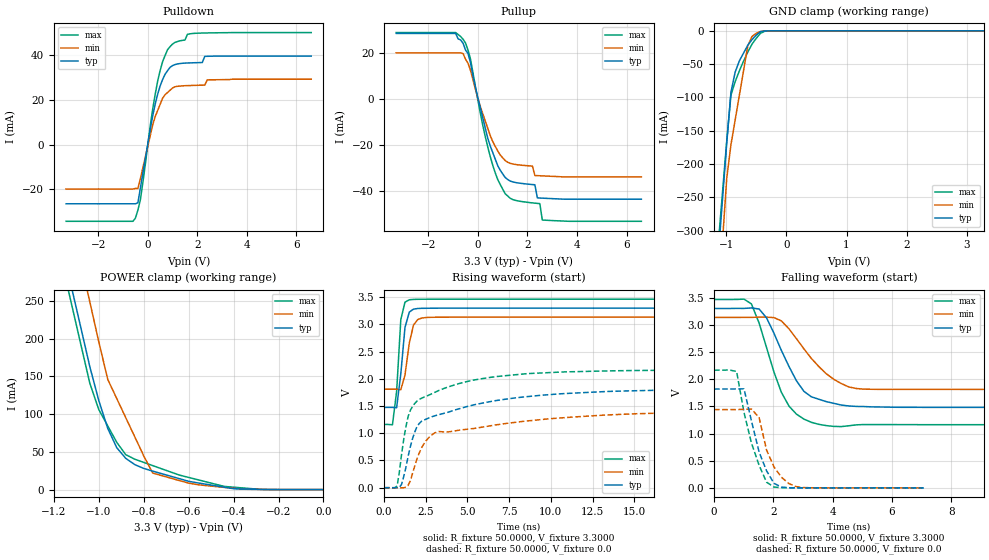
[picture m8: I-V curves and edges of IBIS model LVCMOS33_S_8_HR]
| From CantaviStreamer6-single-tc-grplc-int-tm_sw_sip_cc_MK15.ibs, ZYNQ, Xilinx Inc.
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[Model]  LVCMOS33_S_8_HR
Model_type I/O
Polarity   Non-Inverting
Enable   Active-Low
Vinl =   0.8000V
Vinh =   2.0000V
Vmeas =  1.6500V
Cref =   0.0F
Rref =   1.0000M
Vref =   0.0V
C_comp   5.23pF   5.19pF   5.36pF
[Temperature Range]   25.0000   85.0000   0.0
[Voltage Range]   3.3000V   3.1350V   3.4650V
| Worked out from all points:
|   slope of the pulldown table from 0 to 0.495 V, typ, clamps not added: 19.2 ohm
|   slope of the pullup table from 0 to 0.495 V, typ, clamps not added: 23.7 ohm
|   GND clamp passes 1 mA (typ) near -0.41 V on its own axis
|   POWER clamp passes 1 mA (typ) near -0.38 V on its own axis
|   rising waveform, R_fixture 50.0000, V_fixture 3.3000: 20-80 % time 348ps typ, 418ps min, 295ps max; typ from 1.48 V to 3.3 V
|   rising waveform, R_fixture 50.0000, V_fixture 0.0: 20-80 % time 3.19ns typ, 4.92ns min, 1.92ns max; typ from 0 V to 1.81 V
|   falling waveform, R_fixture 50.0000, V_fixture 3.3000: 20-80 % time 1ns typ, 1.24ns min, 873ps max; typ from 3.3 V to 1.48 V
|   falling waveform, R_fixture 50.0000, V_fixture 0.0: 20-80 % time 568ps typ, 572ps min, 613ps max; typ from 1.82 V to 0 V
[Pulldown]
|Voltage   I(typ)   I(min)   I(max)
-3.3V     -26.44mA   -19.83mA   -34.28mA
-500mV    -26.44mA   -19.6mA    -32.84mA
-400mV    -25.99mA   -19.6mA    -29.3mA
-300mV    -19.42mA   -15.27mA   -24.66mA
100mV     6.921mA    4.13mA     8.579mA
400mV     22.66mA    15.34mA    28.51mA
600mV     29.19mA    20.84mA    37.22mA
1V        35.37mA    25.37mA    45.01mA
1.8V      36.62mA    26.49mA    49.72mA
2.3V      39.5mA     26.64mA    49.96mA
2.4V      39.53mA    29mA       49.98mA
6.6V      39.61mA    29.29mA    50.15mA
[Pullup]
|Voltage   I(typ)   I(min)   I(max)
-3.3V     28.67mA    20.19mA    29.04mA
-900mV    28.67mA    20.19mA    29.04mA
-600mV    24.41mA    19.83mA    26.12mA
-300mV    15.86mA    12.55mA    17.47mA
200mV     -8.375mA   -6.515mA   -11.65mA
600mV     -23.39mA   -18.62mA   -28.95mA
1.3V      -35.78mA   -28.05mA   -43.28mA
2.2V      -37.33mA   -29.27mA   -45.33mA
2.3V      -37.42mA   -33.37mA   -45.44mA
2.5V      -43.2mA    -33.48mA   -45.65mA
2.6V      -43.26mA   -33.54mA   -52.82mA
6.6V      -43.72mA   -33.96mA   -53.37mA
[GND_clamp]
|Voltage   I(typ)   I(min)   I(max)
-3.3V     -3.592A    -3.646A    -3.573A
-1.13V    -336.9mA   -409.8mA   -319.4mA
-1.06V    -252.8mA   -315.8mA   -242.5mA
-990mV    -168.8mA   -221.9mA   -165.6mA
-920mV    -92.3mA    -171.1mA   -96.7mA
-850mV    -62.05mA   -133.9mA   -76.37mA
-640mV    -21.63mA   -22.47mA   -31.95mA
-570mV    -13.24mA   -8.578mA   -19.99mA
-500mV    -6.516mA   -3.819mA   -11.33mA
-430mV    -1.313mA   -1.026mA   -3.74mA
-290mV    -32.42uA   -84.03uA   -109.5uA
3.28V     19.51nA    2.407uA    13.97nA
[POWER_clamp]
|Voltage   I(typ)   I(min)   I(max)
-3.28V    3.564A     3.617A     3.545A
-1.16V    321.1mA    407.8mA    295.6mA
-1.12V    266.3mA    354.8mA    244.1mA
-1.08V    214.7mA    301.8mA    192.5mA
-1.04V    163mA      248.8mA    141mA
-1V       118mA      195.8mA    106mA
-960mV    81.03mA    145.9mA    84.32mA
-920mV    55.53mA    120.6mA    62.62mA
-880mV    41.38mA    95.3mA     46.31mA
-760mV    24.5mA     21.89mA    31.8mA
-440mV    3.117mA    2.892mA    4.182mA
0V        19.6nA     164.8nA    26.23nA
[Ramp]
| variable   typ   min   max
dV/dt_r  1.0878/3.1532n   0.8502/4.5119n   1.2972/1.9063n
dV/dt_f  1.0920/1.0938n   0.795/1.4352n   1.3818/0.8604n
R_load = 50.0000
[Rising Waveform]
R_fixture= 50.0000
V_fixture= 3.3000
V_fixture_min= 3.1350
V_fixture_max= 3.46500
|time   V(typ)   V(min)   V(max)
0s        1.476V     1.81V      1.162V
510ps     1.476V     1.81V      1.156V
760ps     1.47V      1.809V     1.772V
1.01ns    2.091V     1.8V       3.088V
1.26ns    2.944V     2.07V      3.409V
1.52ns    3.228V     2.658V     3.453V
1.77ns    3.281V     2.988V     3.46V
2.02ns    3.293V     3.089V     3.462V
2.53ns    3.297V     3.127V     3.463V
19.95ns   3.3V       3.134V     3.465V
[Rising Waveform]
R_fixture= 50.0000
V_fixture= 0.0
|time   V(typ)   V(min)   V(max)
0s        0V         1.026uV    0V
792.2ps   350.1uV    546.8nV    35.13mV
1.056ns   61.62mV    -946.5uV   616.3mV
1.32ns    380.4mV    11.96mV    1.127V
1.849ns   1.024V     401.9mV    1.549V
2.377ns   1.24V      796.3mV    1.661V
3.037ns   1.321V     1.007V     1.752V
5.281ns   1.515V     1.083V     1.973V
13.73ns   1.772V     1.342V     2.148V
39.21ns   1.813V     1.44V      2.165V
[Falling Waveform]
R_fixture= 50.0000
V_fixture= 3.3000
V_fixture_min= 3.1350
V_fixture_max= 3.46500
|time   V(typ)   V(min)   V(max)
0s        3.3V       3.135V     3.465V
1.26ns    3.31V      3.136V     3.384V
1.52ns    3.29V      3.142V     3.031V
1.77ns    3.128V     3.141V     2.582V
2.27ns    2.53V      3.072V     1.759V
2.78ns    1.97V      2.744V     1.356V
3.28ns    1.676V     2.383V     1.206V
4.04ns    1.555V     1.998V     1.131V
4.8ns     1.498V     1.828V     1.159V
14.65ns   1.48V      1.81V      1.162V
[Falling Waveform]
R_fixture= 50.0000
V_fixture= 0.0
|time   V(typ)   V(min)   V(max)
0s        1.818V     1.44V      2.165V
760ps     1.82V      1.44V      2.142V
1.01ns    1.822V     1.444V     1.387V
1.26ns    1.234V     1.451V     826.5mV
1.52ns    657.9mV    1.291V     415mV
1.77ns    314.7mV    697.1mV    105mV
2.02ns    84.78mV    387.2mV    15.21mV
2.27ns    14.09mV    196.6mV    3.12mV
2.78ns    997.7uV    21.8mV     616uV
7.07ns    0V         0V         0V
